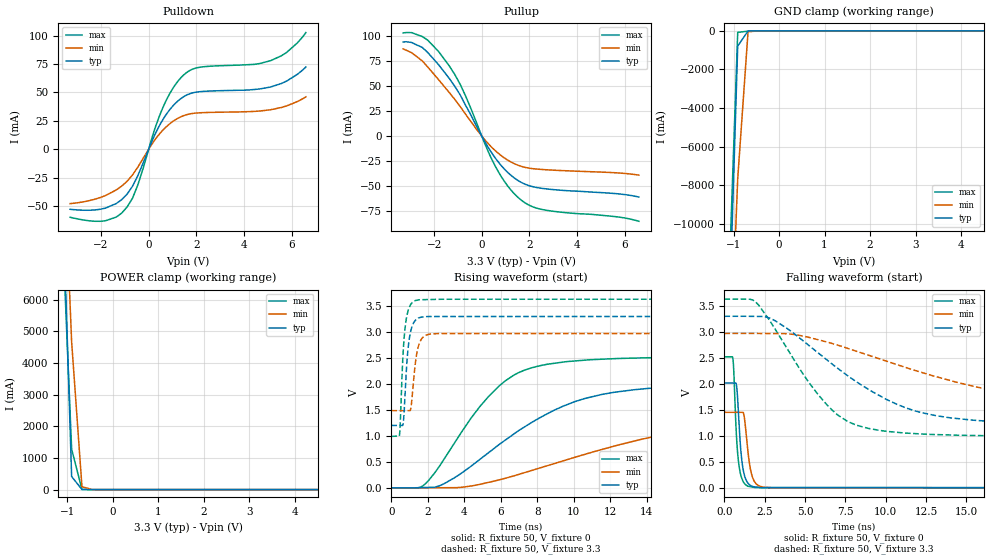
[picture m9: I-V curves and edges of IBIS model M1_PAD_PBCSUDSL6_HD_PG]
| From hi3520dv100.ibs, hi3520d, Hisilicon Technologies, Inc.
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[Model] M1_PAD_PBCSUDSL6_HD_PG
Model_type I/O
Vinl  =  0.8
Vinh  =  2
| Capacitance   typ   min   max
C_comp   3.54522587679e-12   3.80621284733e-12   3.32501668179e-12
| Variables   typ   min   max
[GND Clamp Reference]   0   0   0
[POWER Clamp Reference]   3.3   2.97   3.63
[Pulldown Reference]   0   0   0
[Pullup Reference]   3.3   2.97   3.63
[Temperature Range]   25   125   -40
[Voltage Range]   3.3   2.97   3.63
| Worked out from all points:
|   slope of the pulldown table from 0 to 0.495 V, typ, clamps not added: 22.1 ohm
|   slope of the pullup table from 0 to 0.495 V, typ, clamps not added: 25.4 ohm
|   GND clamp passes 1 mA (typ) near -0.47 V on its own axis
|   POWER clamp passes 1 mA (typ) near -0.51 V on its own axis
|   falling waveform, R_fixture 50, V_fixture 0: 20-80 % time 294ps typ, 352ps min, 262ps max; typ from 2.02 V to 0 V
|   falling waveform, R_fixture 50, V_fixture 3.3: 20-80 % time 5.93ns typ, 10.6ns min, 3.56ns max; typ from 3.3 V to 1.2 V
|   rising waveform, R_fixture 50, V_fixture 0: 20-80 % time 5.4ns typ, 9.92ns min, 3.3ns max; typ from 0 V to 2.02 V
|   rising waveform, R_fixture 50, V_fixture 3.3: 20-80 % time 264ps typ, 298ps min, 242ps max; typ from 1.2 V to 3.3 V
[GND Clamp]
| Voltage   I(typ)   I(min)   I(max)
-3.3V     -188.8A    -149A      -233.7A
-1.134V   -17.95A    -21.05A    -15.29A
-907.5mV  -786.1mA   -7.651A    -80.85mA
-680.6mV  -12.1mA    -50.84mA   -16.79mA
-453.7mV  -324.7uA   -602.9uA   -281.9uA
6.6V      0A         0A         0A
[POWER Clamp]
| Voltage   I(typ)   I(min)   I(max)
-3.3V     113.7A     89.75A     140.8A
-1.134V   10.68A     12.57A     9.071A
-907.5mV  412.4mA    4.667A     1.278A
-680.6mV  3.742mA    91.72mA    5.432mA
-453.7mV  110.3uA    891uA      688.9uA
6.6V      0A         0A         0A
[Pullup]
| Voltage   I(typ)   I(min)   I(max)
-3.3V     93.89mA    86.99mA    103mA
-2.949V   93.47mA    83.31mA    103.3mA
-2.269V   83.48mA    68.99mA    95.77mA
-1.361V   57.47mA    43.39mA    70.01mA
-680.6mV  30.81mA    21.84mA    40.17mA
103.1mV   -4.489mA   -2.987mA   -6.167mA
567.2mV   -21.87mA   -14.55mA   -29.99mA
1.083V    -36.11mA   -23.91mA   -49.58mA
1.65V     -46.13mA   -30.16mA   -63.8mA
2.114V    -50.39mA   -32.46mA   -70.36mA
2.63V     -52.51mA   -33.53mA   -73.74mA
6.6V      -60.92mA   -38.99mA   -85.11mA
[Pulldown]
| Voltage   I(typ)   I(min)   I(max)
-3.3V     -53mA      -48.01mA   -60.05mA
-1.815V   -51.96mA   -40.89mA   -63.13mA
-907.5mV  -39.65mA   -28.32mA   -51.02mA
-453.7mV  -23.23mA   -15.75mA   -31.42mA
206.2mV   10.37mA    6.657mA    14.6mA
618.8mV   26.84mA    17.27mA    37.75mA
1.083V    39.6mA     25.44mA    55.78mA
1.547V    47.21mA    30.12mA    66.83mA
2.217V    50.82mA    32.16mA    72.46mA
5.115V    54.81mA    34.75mA    78.01mA
5.796V    60.09mA    38.18mA    85.39mA
6.6V      72.48mA    46.15mA    102.8mA
[Ramp]
dV/dt_r   1.2095/5.39902n  0.871788/9.91979n  1.51256/3.30122n
dV/dt_f   1.25974/5.928n  0.890618/10.6038n  1.58364/3.55697n
R_load = 50
[Falling Waveform]
R_fixture = 50
V_fixture = 0
V_fixture_min = 0
V_fixture_max = 0
| Time   V(typ)   V(min)   V(max)
0s        2.016V     1.453V     2.521V
520ps     2.016V     1.453V     2.5V
588.4ps   2.016V     1.453V     2.194V
766.1ps   1.926V     1.453V     899.4mV
993.1ps   815.4mV    1.453V     272.6mV
1.177ns   327.4mV    1.446V     112.7mV
1.312ns   172.8mV    1.151V     60mV
1.587ns   53.56mV    403.8mV    23.79mV
1.914ns   16.41mV    98.37mV    5.793mV
100ns     14.29nV    42.97nV    -2.674nV
[Falling Waveform]
R_fixture = 50
V_fixture = 3.3
V_fixture_min = 2.97
V_fixture_max = 3.63
| Time   V(typ)   V(min)   V(max)
0s        3.3V       2.97V      3.63V
1.914ns   3.298V     2.97V      3.582V
3.14ns    3.215V     2.967V     3.056V
5.304ns   2.722V     2.888V     1.999V
7.013ns   2.301V     2.745V     1.403V
8.921ns   1.896V     2.552V     1.143V
11.2ns    1.543V     2.319V     1.054V
19.24ns   1.242V     1.739V     997.3mV
27.22ns   1.208V     1.554V     993mV
100ns     1.2V       1.486V     990.6mV
[Rising Waveform]
R_fixture = 50
V_fixture = 0
V_fixture_min = 0
V_fixture_max = 0
| Time   V(typ)   V(min)   V(max)
0s        4.429nV    33.64nV    10.43nV
1.914ns   7.785mV    516.6uV    94.53mV
2.866ns   75.75mV    2.437mV    540.6mV
4.85ns    547.4mV    67.4mV     1.564V
6.734ns   1.041V     232.3mV    2.173V
8.884ns   1.487V     462.2mV    2.394V
10.89ns   1.743V     673.5mV    2.464V
17.51ns   1.973V     1.179V     2.514V
26.19ns   2.01V      1.392V     2.517V
100ns     2.016V     1.453V     2.521V
[Rising Waveform]
R_fixture = 50
V_fixture = 3.3
V_fixture_min = 2.97
V_fixture_max = 3.63
| Time   V(typ)   V(min)   V(max)
0s        1.2V       1.486V     990.6mV
446.7ps   1.2V       1.486V     1.02V
639.6ps   1.22V      1.486V     2.569V
785.9ps   2.032V     1.486V     3.175V
969ps     2.836V     1.486V     3.462V
1.074ns   3.034V     1.549V     3.535V
1.311ns   3.22V      2.386V     3.602V
1.49ns    3.267V     2.733V     3.617V
2.723ns   3.296V     2.968V     3.627V
100ns     3.3V       2.97V      3.63V
